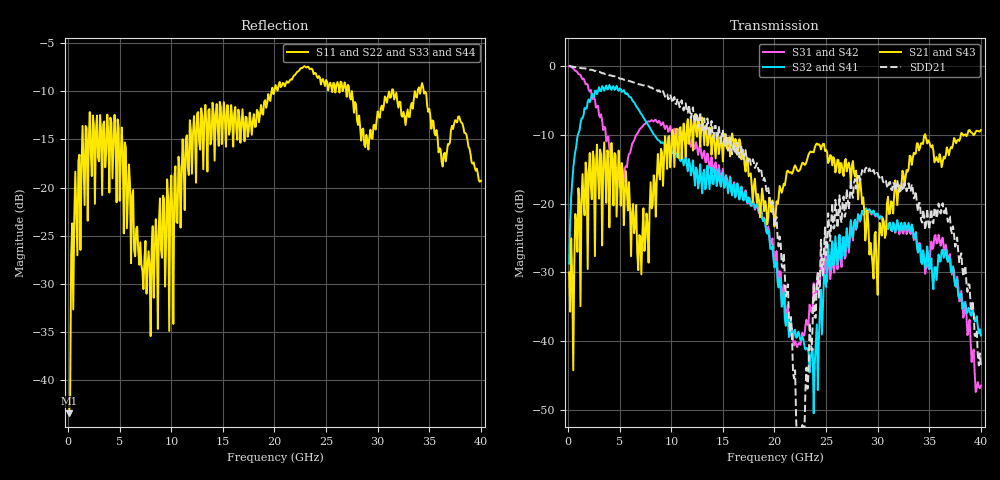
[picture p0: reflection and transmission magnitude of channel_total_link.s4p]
! Created Sat Apr 30 22:04:53 2016
# hz S ma R 50
! 4 Port Network Data from SP1.SP block
! freq  magS11  angS11  magS12  angS12  magS13  angS13  magS14  angS14
!  magS21  angS21  magS22  angS22  magS23  angS23  magS24  angS24
!  magS31  angS31  magS32  angS32  magS33  angS33  magS34  angS34
!  magS41  angS41  magS42  angS42  magS43  angS43  magS44  angS44
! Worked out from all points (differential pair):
!   400 points, 100 MHz to 40 GHz, reference 50 ohm
!   strongest paths, dB at 100 MHz, 10.1 GHz, 20.1 GHz, 30.1 GHz, 40 GHz:
!     S21: -30.0, -9.3, -22.0, -26.4, -9.3
!     S43: -30.0, -9.3, -22.0, -26.4, -9.3
!     S32: -28.7, -12.7, -28.5, -22.0, -39.2
!     S41: -28.7, -12.7, -28.5, -22.0, -39.2
!     S31: 0.0, -10.0, -27.8, -22.1, -46.5
!     S42: 0.0, -10.1, -27.9, -22.4, -46.3
!   taken as a pair (ports 1,2 in; 3,4 out), SDD21 dB: 0.0, -5.4, -22.4, -16.1, -43.6
!   lowest |S11| = -43.5 dB at 100 MHz (marker M1), VSWR 1.01, Z = 50.5 - j0.469 ohm
!   |S11| at or under -10 dB: start of sweep to 19.71 GHz; 27.5 GHz to 31.37 GHz (3.87 GHz wide, 13.1 % of centre); 34.47 GHz to end of sweep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
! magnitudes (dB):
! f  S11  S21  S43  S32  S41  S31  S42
! 100 MHz  -43.5  -30.0  -30.0  -28.7  -28.7  0.0  0.0
! 500 MHz  -32.7  -44.2  -44.2  -14.9  -14.9  -0.4  -0.4
! 2.1 GHz  -12.2  -12.7  -12.7  -5.3  -5.3  -3.7  -3.7
! 8 GHz  -35.4  -16.9  -16.9  -9.2  -9.2  -8.0  -8.1
! 23.8 GHz  -8.2  -12.6  -12.6  -50.5  -51.1  -31.6  -31.6
! 28.9 GHz  -14.5  -23.7  -23.8  -20.7  -20.7  -20.7  -21.0
! 40 GHz  -19.3  -9.3  -9.3  -39.2  -39.2  -46.5  -46.3
